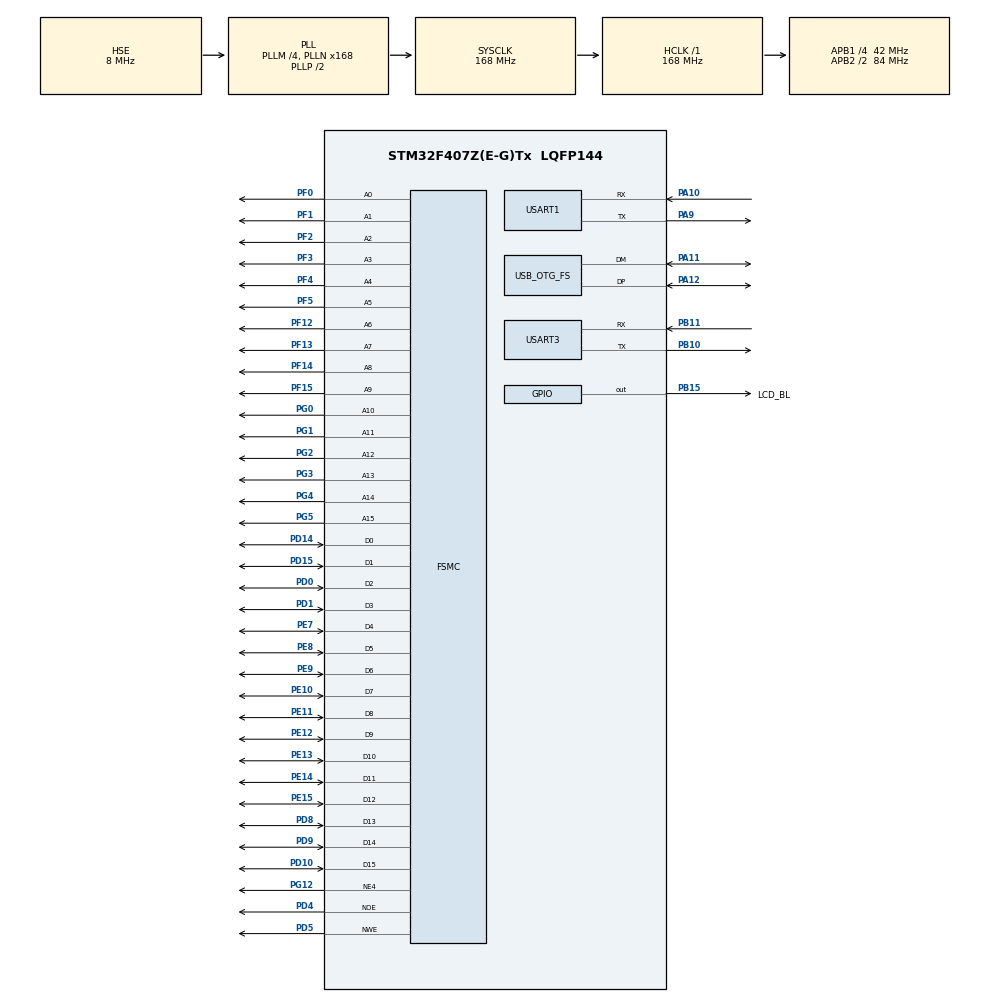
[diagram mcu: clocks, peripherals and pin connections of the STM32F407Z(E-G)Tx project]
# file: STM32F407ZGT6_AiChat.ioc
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FREERTOS.BinarySemaphores01=LlmGenSem,Dynamic,NULL,Available
FREERTOS.Tasks01=LlmTask,0,2048,StartLlmTask,Default,NULL,Dynamic,NULL,NULL;UsbKbTask,1,512,StartUsbKbTask,Default,NULL,Dynamic,NULL,NULL
FREERTOS.configUSE_NEWLIB_REENTRANT=1
FSMC.DataSetupTime1=60
FSMC.ExtendedAddressSetupTime1=3
FSMC.ExtendedBusTurnAroundDuration1=0
FSMC.ExtendedDataSetupTime1=3
FSMC.ExtendedMode1=FSMC_EXTENDED_MODE_ENABLE
FSMC.WriteOperation1=FSMC_WRITE_OPERATION_ENABLE
Mcu.Family=STM32F4
Mcu.Name=STM32F407Z(E-G)Tx
Mcu.Package=LQFP144
NVIC.OTG_FS_IRQn=true\:5\:0\:false\:false\:true\:true\:true\:true\:true
NVIC.PriorityGroup=NVIC_PRIORITYGROUP_4
NVIC.TIM1_UP_TIM10_IRQn=true\:15\:0\:false\:false\:true\:false\:false\:true\:true
NVIC.TimeBase=TIM1_UP_TIM10_IRQn
NVIC.TimeBaseIP=TIM1
NVIC.USART3_IRQn=true\:5\:0\:false\:false\:true\:true\:true\:true\:true
PA10.Mode=Asynchronous
PA10.Signal=USART1_RX
PA11.Mode=Host_Only
PA11.Signal=USB_OTG_FS_DM
PA12.Mode=Host_Only
PA12.Signal=USB_OTG_FS_DP
PA13.Mode=Serial_Wire
PA13.Signal=SYS_JTMS-SWDIO
PA14.Mode=Serial_Wire
PA14.Signal=SYS_JTCK-SWCLK
PA9.Mode=Asynchronous
PA9.Signal=USART1_TX
PB10.Mode=Asynchronous
PB10.Signal=USART3_TX
PB11.Mode=Asynchronous
PB11.Signal=USART3_RX
PB15.GPIO_Label=LCD_BL
PB15.Signal=GPIO_Output
PD0.Signal=FSMC_D2_DA2
PD1.Signal=FSMC_D3_DA3
PD10.Signal=FSMC_D15_DA15
PD14.Signal=FSMC_D0_DA0
PD15.Signal=FSMC_D1_DA1
PD4.Signal=FSMC_NOE
PD5.Signal=FSMC_NWE
PD8.Signal=FSMC_D13_DA13
PD9.Signal=FSMC_D14_DA14
PE10.Signal=FSMC_D7_DA7
PE11.Signal=FSMC_D8_DA8
PE12.Signal=FSMC_D9_DA9
PE13.Signal=FSMC_D10_DA10
PE14.Signal=FSMC_D11_DA11
PE15.Signal=FSMC_D12_DA12
PE7.Signal=FSMC_D4_DA4
PE8.Signal=FSMC_D5_DA5
PE9.Signal=FSMC_D6_DA6
PF0.Signal=FSMC_A0
PF1.Signal=FSMC_A1
PF12.Signal=FSMC_A6
PF13.Signal=FSMC_A7
PF14.Signal=FSMC_A8
PF15.Signal=FSMC_A9
PF2.Signal=FSMC_A2
PF3.Signal=FSMC_A3
PF4.Signal=FSMC_A4
PF5.Signal=FSMC_A5
PG0.Signal=FSMC_A10
PG1.Signal=FSMC_A11
PG12.Mode=NorPsramChipSelect4_1
PG12.Signal=FSMC_NE4
PG2.Signal=FSMC_A12
PG3.Signal=FSMC_A13
PG4.Signal=FSMC_A14
PG5.Signal=FSMC_A15
PH0-OSC_IN.Mode=HSE-External-Oscillator
PH0-OSC_IN.Signal=RCC_OSC_IN
PH1-OSC_OUT.Mode=HSE-External-Oscillator
PH1-OSC_OUT.Signal=RCC_OSC_OUT
ProjectManager.HeapSize=0x200
ProjectManager.StackSize=0x400
ProjectManager.TargetToolchain=STM32CubeIDE
RCC.48MHZClocksFreq_Value=48000000
RCC.AHBFreq_Value=168000000
RCC.APB1CLKDivider=RCC_HCLK_DIV4
RCC.APB1Freq_Value=42000000
RCC.APB1TimFreq_Value=84000000
RCC.APB2CLKDivider=RCC_HCLK_DIV2
RCC.APB2Freq_Value=84000000
RCC.APB2TimFreq_Value=168000000
RCC.CortexFreq_Value=168000000
RCC.HCLKFreq_Value=168000000
RCC.HSE_VALUE=8000000
RCC.HSI_VALUE=16000000
RCC.LSE_VALUE=32768
RCC.PLLM=4
RCC.PLLN=168
RCC.PLLQ=7
RCC.SYSCLKFreq_VALUE=168000000
RCC.SYSCLKSource=RCC_SYSCLKSOURCE_PLLCLK
RCC.VCOOutputFreq_Value=336000000
SH.FSMC_A0.0=FSMC_A0,16b-a1
SH.FSMC_A1.0=FSMC_A1,16b-a1
SH.FSMC_A10.0=FSMC_A10,16b-a1
SH.FSMC_A11.0=FSMC_A11,16b-a1
SH.FSMC_A12.0=FSMC_A12,16b-a1
SH.FSMC_A13.0=FSMC_A13,16b-a1
SH.FSMC_A14.0=FSMC_A14,16b-a1
SH.FSMC_A15.0=FSMC_A15,16b-a1
SH.FSMC_A2.0=FSMC_A2,16b-a1
SH.FSMC_A3.0=FSMC_A3,16b-a1
SH.FSMC_A4.0=FSMC_A4,16b-a1
SH.FSMC_A5.0=FSMC_A5,16b-a1
SH.FSMC_A6.0=FSMC_A6,16b-a1
SH.FSMC_A7.0=FSMC_A7,16b-a1
SH.FSMC_A8.0=FSMC_A8,16b-a1
SH.FSMC_A9.0=FSMC_A9,16b-a1
SH.FSMC_D0_DA0.0=FSMC_D0,16b-d1
SH.FSMC_D10_DA10.0=FSMC_D10,16b-d1
SH.FSMC_D11_DA11.0=FSMC_D11,16b-d1
SH.FSMC_D12_DA12.0=FSMC_D12,16b-d1
SH.FSMC_D13_DA13.0=FSMC_D13,16b-d1
SH.FSMC_D14_DA14.0=FSMC_D14,16b-d1
SH.FSMC_D15_DA15.0=FSMC_D15,16b-d1
SH.FSMC_D1_DA1.0=FSMC_D1,16b-d1
SH.FSMC_D2_DA2.0=FSMC_D2,16b-d1
SH.FSMC_D3_DA3.0=FSMC_D3,16b-d1
SH.FSMC_D4_DA4.0=FSMC_D4,16b-d1
SH.FSMC_D5_DA5.0=FSMC_D5,16b-d1
SH.FSMC_D6_DA6.0=FSMC_D6,16b-d1
SH.FSMC_D7_DA7.0=FSMC_D7,16b-d1
SH.FSMC_D8_DA8.0=FSMC_D8,16b-d1
SH.FSMC_D9_DA9.0=FSMC_D9,16b-d1
SH.FSMC_NOE.0=FSMC_NOE,Sram1
SH.FSMC_NWE.0=FSMC_NWE,Sram1
USART1.VirtualMode=VM_ASYNC
USART3.VirtualMode=VM_ASYNC
USB_HOST.USBH_HandleTypeDef-HID_FS=hUsbHostFS
USB_HOST.VirtualModeFS=Hid
USB_OTG_FS.VirtualMode=Host_Only
USB_OTG_FS.phy_itface=HCD_PHY_EMBEDDED
VP_FREERTOS_VS_CMSIS_V1.Mode=CMSIS_V1
VP_SYS_VS_tim1.Mode=TIM1
VP_USB_HOST_VS_USB_HOST_HID_FS.Mode=HID_FS
board=custom

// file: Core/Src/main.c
/* USER CODE BEGIN Header */
/**
  ******************************************************************************
  * @file           : main.c
  * @brief          : Main program body
  ******************************************************************************
  * @attention
  *
  * Copyright (c) 2026 STMicroelectronics.
  * All rights reserved.
  *
  * This software is licensed under terms that can be found in the LICENSE file
  * in the root directory of this software component.
  * If no LICENSE file comes with this software, it is provided AS-IS.
  *
  ******************************************************************************
  */
/* USER CODE END Header */
#include "main.h"
#include "cmsis_os.h"
#include "usart.h"
#include "usb_host.h"
#include "gpio.h"
#include "fsmc.h"

/* USER CODE BEGIN Includes */
#include <stdio.h>
#include <string.h>
#include "tui.h"
#include "usart.h"
#include "lcd.h"
#include "usb_host.h"
/* USER CODE END Includes */

/* USER CODE BEGIN PV */
#define RX_BUFFER_SIZE 4096
uint8_t rx_data;
char esp8266_rx_buffer[RX_BUFFER_SIZE];
uint16_t rx_index = 0;

#define TCP_RX_BUFFER_SIZE 16384
volatile uint8_t tcp_receiving = 0;
volatile uint8_t tcp_done = 0;
char tcp_rx_buffer[TCP_RX_BUFFER_SIZE];
volatile uint16_t tcp_rx_len = 0;
volatile int http_content_length = -1;
volatile int http_body_received = 0;
volatile uint8_t http_header_complete = 0;
/* USER CODE END PV */

void SystemClock_Config(void);

void MX_FREERTOS_Init(void);

/* USER CODE BEGIN PFP */
uint8_t ESP8266_SendCmd(char *cmd, char *expected_resp, uint32_t timeout);

/* USER CODE END PFP */

/* USER CODE BEGIN 0 */
// Redirect prinft function
int _write(int file, char *ptr, int len) {
    HAL_UART_Transmit(&huart1, (uint8_t *) ptr, len, HAL_MAX_DELAY);
    return len;
}

/* USER CODE END 0 */

int main(void) {

    /* MCU Configuration--------------------------------------------------------*/

    /* Reset of all peripherals, Initializes the Flash interface and the Systick. */
    HAL_Init();

    /* USER CODE BEGIN Init */

    // Clear USART buffer
    setvbuf(stdout, NULL, _IONBF, 0);
    setvbuf(stderr, NULL, _IONBF, 0);

    /* USER CODE END Init */

    /* Configure the system clock */
    SystemClock_Config();

    /* Initialize all configured peripherals */
    MX_GPIO_Init();
    MX_FSMC_Init();
    MX_USART1_UART_Init();
    MX_USART3_UART_Init();
    /* USER CODE BEGIN 2 */

    // Banner
    printf("\n\r===================================\n\r");
    printf("+        Program started          +\n\r");
    printf("===================================\n\r");

    // Initialize LCD

    g_point_color = WHITE;
    g_back_color = BLACK;

    tui_init();

    tui_printf_color(GREEN, "[OK] LCD initialized\n");

    // Initialize ESP8266
    HAL_UART_Receive_IT(&huart3, &rx_data, 1);

    ESP8266_SendCmd("AT\r\n", "OK", 1000);
    ESP8266_SendCmd("AT+CWMODE=1\r\n", "OK", 1000);
    tui_printf_color(YELLOW, "Connecting WiFi " WIFI_SSID "\n");
    if (ESP8266_SendCmd("AT+CWJAP=\"" WIFI_SSID "\",\"" WIFI_PASSWD "\"\r\n", "WIFI GOT IP", 15000)) {
        tui_printf_color(GREEN, "[OK] WiFi Connected!\n");

        ESP8266_SendCmd("AT+CIFSR\r\n", "OK", 2000);
    } else {
        tui_printf_color(RED,   "[FAIL] WiFi Failed!\n");

        // Exception
    }
    /* USER CODE END 2 */

    /* Call init function for freertos objects (in cmsis_os2.c) */
    MX_FREERTOS_Init();

    /* Start scheduler */
    osKernelStart();

    /* We should never get here as control is now taken by the scheduler */

    /* Infinite loop */
    while (1) {

    }
}

void SystemClock_Config(void) {
    RCC_OscInitTypeDef RCC_OscInitStruct = {0};
    RCC_ClkInitTypeDef RCC_ClkInitStruct = {0};

    /** Configure the main internal regulator output voltage
    */
    __HAL_RCC_PWR_CLK_ENABLE();
    __HAL_PWR_VOLTAGESCALING_CONFIG(PWR_REGULATOR_VOLTAGE_SCALE1);

    /** Initializes the RCC Oscillators according to the specified parameters
    * in the RCC_OscInitTypeDef structure.
    */
    RCC_OscInitStruct.OscillatorType = RCC_OSCILLATORTYPE_HSE;
    RCC_OscInitStruct.HSEState = RCC_HSE_ON;
    RCC_OscInitStruct.PLL.PLLState = RCC_PLL_ON;
    RCC_OscInitStruct.PLL.PLLSource = RCC_PLLSOURCE_HSE;
    RCC_OscInitStruct.PLL.PLLM = 4;
    RCC_OscInitStruct.PLL.PLLN = 168;
    RCC_OscInitStruct.PLL.PLLP = RCC_PLLP_DIV2;
    RCC_OscInitStruct.PLL.PLLQ = 7;
    if (HAL_RCC_OscConfig(&RCC_OscInitStruct) != HAL_OK) {
        Error_Handler();
    }

    /** Initializes the CPU, AHB and APB buses clocks
    */
    RCC_ClkInitStruct.ClockType = RCC_CLOCKTYPE_HCLK | RCC_CLOCKTYPE_SYSCLK
                                  | RCC_CLOCKTYPE_PCLK1 | RCC_CLOCKTYPE_PCLK2;
    RCC_ClkInitStruct.SYSCLKSource = RCC_SYSCLKSOURCE_PLLCLK;
    RCC_ClkInitStruct.AHBCLKDivider = RCC_SYSCLK_DIV1;
    RCC_ClkInitStruct.APB1CLKDivider = RCC_HCLK_DIV4;
    RCC_ClkInitStruct.APB2CLKDivider = RCC_HCLK_DIV2;

    if (HAL_RCC_ClockConfig(&RCC_ClkInitStruct, FLASH_LATENCY_5) != HAL_OK) {
        Error_Handler();
    }
}

/* USER CODE BEGIN 4 */
void HAL_UART_RxCpltCallback(UART_HandleTypeDef *huart) {
    if (huart->Instance == USART3) {
        char c = (char) rx_data;

        if (tcp_receiving) {
            if (tcp_rx_len < TCP_RX_BUFFER_SIZE - 1) {
                tcp_rx_buffer[tcp_rx_len++] = c;
                tcp_rx_buffer[tcp_rx_len] = '\0';
            }

            // 1. 只有看到 \r\n\r\n 之后才认为 header 完整
            if (!http_header_complete) {
                char *h_end = strstr(tcp_rx_buffer, "\r\n\r\n");
                if (h_end) {
                    http_header_complete = 1;

                    // header 完整后才允许解析 Content-Length
                    char *cl = strstr(tcp_rx_buffer, "Content-Length:");
                    if (cl) {
                        cl += strlen("Content-Length:");
                        while (*cl == ' ') cl++;
                        http_content_length = atoi(cl);
                    }
                }
            }

            // 2. 只有 header 完整后才判断 body 是否收完
            if (http_header_complete && http_content_length >= 0) {
                char *body = strstr(tcp_rx_buffer, "\r\n\r\n");
                if (body) {
                    body += 4;
                    int current_body_len = (int) tcp_rx_len - (int) (body - tcp_rx_buffer);
                    if (current_body_len >= http_content_length) {
                        tcp_done = 1;
                        tcp_receiving = 0;
                    }
                }
            }

            // 3. 兜底：CLOSED 仍然作为备用结束条件
            if (strstr(tcp_rx_buffer, "CLOSED")) {
                tcp_done = 1;
                tcp_receiving = 0;
            }
        } else {
            esp8266_rx_buffer[rx_index++] = c;
            if (rx_index >= RX_BUFFER_SIZE - 1) {
                rx_index = 0;
            }
        }

        HAL_UART_Receive_IT(&huart3, &rx_data, 1);
    }
}

uint8_t ESP8266_SendCmd(char *cmd, char *expected_resp, uint32_t timeout) {
    // 1. 清空接收缓冲区
    memset(esp8266_rx_buffer, 0, RX_BUFFER_SIZE);
    rx_index = 0;

    // 2. 打印我们正在发送的指令到 USART1 进行调试
    printf(">> Send: %s", cmd);

    // 3. 通过 USART3 发送指令给 ESP8266
    HAL_UART_Transmit(&huart3, (uint8_t *) cmd, strlen(cmd), HAL_MAX_DELAY);

    // 4. 等待响应 (结合 FreeRTOS 的 osDelay 让出 CPU)
    uint32_t start_time = HAL_GetTick();
    while ((HAL_GetTick() - start_time) < timeout) {
        if (strstr(esp8266_rx_buffer, expected_resp) != NULL) {
            printf("<< Response:\r\n%s\r\n", esp8266_rx_buffer);
            return 1;
        }
        if (xTaskGetSchedulerState() == taskSCHEDULER_NOT_STARTED) {
            HAL_Delay(10);
        } else {
            osDelay(10);
        }
    }

    // 打印超时时的缓冲区状态，方便排错
    printf("<< Timeout!: \r\n%s\r\n", esp8266_rx_buffer);
    return 0; // 失败
}

/* USER CODE END 4 */

void HAL_TIM_PeriodElapsedCallback(TIM_HandleTypeDef *htim) {
    if (htim->Instance == TIM1) {
        HAL_IncTick();
    }
}

void Error_Handler(void) {
    __disable_irq();
    while (1) {
    }
}

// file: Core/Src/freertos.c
/* USER CODE BEGIN Header */
/**
  ******************************************************************************
  * File Name          : freertos.c
  * Description        : Code for freertos applications
  ******************************************************************************
  * @attention
  *
  * Copyright (c) 2026 STMicroelectronics.
  * All rights reserved.
  *
  * This software is licensed under terms that can be found in the LICENSE file
  * in the root directory of this software component.
  * If no LICENSE file comes with this software, it is provided AS-IS.
  *
  ******************************************************************************
  */
/* USER CODE END Header */

#include "FreeRTOS.h"
#include "task.h"
#include "queue.h"
#include "main.h"
#include "cmsis_os.h"

/* USER CODE BEGIN Includes */
#include <string.h>
#include <stdio.h>
#include "lcd.h"
#include "tui.h"
#include "usbh_def.h"
#include "usbh_hid.h"
#include "usbh_hid_keybd.h"
/* USER CODE END Includes */

/* USER CODE BEGIN Variables */
extern uint8_t ESP8266_SendCmd(char *cmd, char *expected_resp, uint32_t timeout);

extern char esp8266_rx_buffer[];

extern volatile uint8_t tcp_receiving;
extern volatile uint8_t tcp_done;
extern char tcp_rx_buffer[];
extern volatile uint16_t tcp_rx_len;
extern volatile int http_content_length;
extern volatile int http_body_received;
extern volatile uint8_t http_header_complete;

extern UART_HandleTypeDef huart3;

// #define TEST_INPUT "Can you introduce yourself?"
#define TEST_INPUT "hello"

static QueueHandle_t keybd_queue = NULL;

char user_input_buffer[256];
uint16_t user_input_index = 0;
/* USER CODE END Variables */
osThreadId LlmTaskHandle;
osThreadId UsbKbTaskHandle;
osSemaphoreId LlmGenSemHandle;

void StartLlmTask(void const *argument);

void StartUsbKbTask(void const *argument);

extern void MX_USB_HOST_Init(void);

void MX_FREERTOS_Init(void); /* (MISRA C 2004 rule 8.1) */

/* GetIdleTaskMemory prototype (linked to static allocation support) */
void vApplicationGetIdleTaskMemory(StaticTask_t **ppxIdleTaskTCBBuffer, StackType_t **ppxIdleTaskStackBuffer,
                                   uint32_t *pulIdleTaskStackSize);

/* USER CODE BEGIN GET_IDLE_TASK_MEMORY */
static StaticTask_t xIdleTaskTCBBuffer;
static StackType_t xIdleStack[configMINIMAL_STACK_SIZE];

void vApplicationGetIdleTaskMemory(StaticTask_t **ppxIdleTaskTCBBuffer, StackType_t **ppxIdleTaskStackBuffer,
                                   uint32_t *pulIdleTaskStackSize) {
    *ppxIdleTaskTCBBuffer = &xIdleTaskTCBBuffer;
    *ppxIdleTaskStackBuffer = &xIdleStack[0];
    *pulIdleTaskStackSize = configMINIMAL_STACK_SIZE;
    /* place for user code */
}

/* USER CODE END GET_IDLE_TASK_MEMORY */

void MX_FREERTOS_Init(void) {

    /* Create the semaphores(s) */
    /* definition and creation of LlmGenSem */
    osSemaphoreDef(LlmGenSem);
    LlmGenSemHandle = osSemaphoreCreate(osSemaphore(LlmGenSem), 1);

    /* USER CODE BEGIN RTOS_QUEUES */
    /* 键盘事件队列:容纳 32 个 ASCII 字节,事件回调入队,UsbKbTask 出队 */
    keybd_queue = xQueueCreate(32, sizeof(uint8_t));
    /* USER CODE END RTOS_QUEUES */

    /* Create the thread(s) */
    /* definition and creation of LlmTask */
    osThreadDef(LlmTask, StartLlmTask, osPriorityNormal, 0, 2048);
    LlmTaskHandle = osThreadCreate(osThread(LlmTask), NULL);

    /* definition and creation of UsbKbTask */
    osThreadDef(UsbKbTask, StartUsbKbTask, osPriorityAboveNormal, 0, 512);
    UsbKbTaskHandle = osThreadCreate(osThread(UsbKbTask), NULL);

}

void StartLlmTask(void const *argument) {
    /* init code for USB_HOST */
    MX_USB_HOST_Init();
    /* USER CODE BEGIN StartLlmTask */

    osDelay(3000);
    tui_printf_color(YELLOW, "Initiating LLM API...\n");

    strcpy(user_input_buffer, TEST_INPUT);
    user_input_index = strlen(TEST_INPUT);

    /* Infinite loop */
    for (;;) {
        if (osSemaphoreWait(LlmGenSemHandle, osWaitForever) == osOK) {
            printf("Input: %s\r\n", user_input_buffer);
            tui_printf_color(YELLOW, "Connecting to host: " LLM_HOST "\n");

            if (ESP8266_SendCmd("AT+CIPSTART=\"TCP\",\"" LLM_HOST "\",8080\r\n", "CONNECT", 10000)) {
                tui_printf_color(GREEN, "[OK]TCP connect success\n");

                // url encode
                char encoded_input[512] = {0};
                char *src = user_input_buffer;
                char *dst = encoded_input;
                while (*src) {
                    if (*src == ' ') {
                        *dst++ = '%';
                        *dst++ = '2';
                        *dst++ = '0';
                    } else {
                        *dst++ = *src;
                    }
                    src++;
                }

                // 构造动态 HTTP GET 报文
                char http_req[1024];
                snprintf(http_req, sizeof(http_req),
                         "GET /api/llm/generate?user_input=%s HTTP/1.1\r\n"
                         "Host: " LLM_HOST ":8080\r\n"
                         "Connection: close\r\n\r\n",
                         encoded_input);

                char send_cmd[32];
                sprintf(send_cmd, "AT+CIPSEND=%d\r\n", strlen(http_req));

                // 1. 先发 CIPSEND 并等 > 提示符（仍在 AT 模式）
                if (ESP8266_SendCmd(send_cmd, ">", 20000)) {
                    printf(">> Sending HTTP request...\r\n");

                    // 2. 切换到 TCP 接收模式
                    tcp_rx_len = 0;
                    tcp_rx_buffer[0] = '\0';
                    tcp_done = 0;
                    http_content_length = -1;
                    http_body_received = 0;
                    http_header_complete = 0;
                    tcp_receiving = 1;

                    // 3. 直接用 HAL_UART_Transmit 发 HTTP
                    HAL_UART_Transmit(&huart3, (uint8_t *) http_req, strlen(http_req), HAL_MAX_DELAY);

                    // 4. 等待 TCP 真正结束（CLOSED）
                    uint32_t start = HAL_GetTick();
                    while (!tcp_done) {
                        if (HAL_GetTick() - start > 15000) break;
                        osDelay(10);
                    }

                    if (tcp_done) {
                        printf("<< Response Received! Parsing...\r\n");

                        char *http_start = strstr(tcp_rx_buffer, "HTTP/1.");
                        if (http_start != NULL) {
                            char *body = strstr(http_start, "\r\n\r\n");
                            if (body != NULL) {
                                body += 4; // 跳过 \r\n\r\n

                                // 清理：原位抹掉 body 中残留的 +IPD,N: 前缀和 CLOSED
                                char *out = body;
                                char *p = body;
                                while (*p) {
                                    if (strncmp(p, "+IPD,", 5) == 0) {
                                        while (*p && *p != ':') p++;
                                        if (*p == ':') p++;
                                        continue;
                                    }
                                    if (strncmp(p, "CLOSED", 6) == 0) break;
                                    *out++ = *p++;
                                }
                                *out = '\0';

                                printf("AI reply:\n", body);
                                tui_printf_color(GREEN, "AI reply:\n");

                                // 【改进 3】LCD 友好型安全字符流打印，防止连续大量空格导致屏幕跑飞
                                char *read_ptr = body;
                                int continuous_space = 0;
                                while (*read_ptr) {
                                    // 压缩连续的多余空格，防止坐标溢出
                                    if (*read_ptr == ' ' || *read_ptr == '\t') {
                                        continuous_space++;
                                        if (continuous_space > 1) {
                                            read_ptr++;
                                            continue;
                                        }
                                    } else {
                                        continuous_space = 0;
                                    }

                                    // 过滤掉 \r 符号，统一只用 \n 换行
                                    if (*read_ptr == '\r') {
                                        read_ptr++;
                                        continue;
                                    }

                                    // 逐个字符安全输出到 LCD
                                    char t_buf[2] = {*read_ptr, '\0'};
                                    tui_printf("%s", t_buf);
                                    read_ptr++;
                                }

                                tui_printf("[Done]\n");
                            } else {
                                printf("<< Error: body delimiter not found after HTTP header\r\n");
                            }
                        } else {
                            printf("<< Error: 'HTTP/1.' protocol header not found\r\n");
                        }
                    } else {
                        printf("<< TCP receive timeout\r\n");
                        tui_printf_color(RED, "API Timeout!\n");
                    }
                }
            } else {
                printf("<< TCP connect failed\r\n");
                tui_printf_color(RED, "[Failed]API Connect Failed!\n");
            }

            // =====================================
            // 4. 请求结束，重置缓冲区，准备迎接真实的物理键盘输入
            user_input_index = 0;
            memset(user_input_buffer, 0, sizeof(user_input_buffer));

            printf("\r\n==========================================\r\n");
            printf(">> Talk to AI (type on USB Keyboard and press Enter):\r\n");
            printf("==========================================\r\n");
        }

        osDelay(10000);
    }
    /* USER CODE END StartLlmTask */
}

void StartUsbKbTask(void const *argument) {
    /* USER CODE BEGIN StartUsbKbTask */

    uint8_t ascii = 0;

    printf("USB Keyboard Task Started, waiting for device...\r\n");

    // Infinite loop:阻塞等待 USBH_HID_EventCallback 推入的按键事件
    for (;;) {
        if (keybd_queue == NULL) {
            osDelay(50);
            continue;
        }

        /* 永久阻塞,直到回调推入一个 ASCII。CPU 让给 LlmTask / USB Host 任务。*/
        if (xQueueReceive(keybd_queue, &ascii, portMAX_DELAY) != pdTRUE) {
            continue;
        }

        // A. 处理退格键 (Backspace / Delete)
        if (ascii == '\b' || ascii == 0x7F) {
            if (user_input_index > 0) {
                user_input_index--;
                user_input_buffer[user_input_index] = '\0';

                // 实时 LCD 擦除回显：由于 tui.c 是流式覆盖打印，
                // 最佳的做法是清屏，重新打印固定标头和用户当前已输入的整行缓冲区
                tui_clear();
                tui_printf_color(WHITE, "LLM Chat Box\n");
                tui_printf("Input: %s", user_input_buffer);

                // 串口同步打印退格效果
                printf("\b \b");
            }
        }
        // B. 处理回车键 (Enter)，触发大模型生成任务
        else if (ascii == '\r' || ascii == '\n') {
            if (user_input_index > 0) { // 确保用户输入了内容

                // 在 LCD 和串口输出提示
                tui_printf("\n[Sending...]\n");
                printf("\r\n>> Prompt Committed. Releasing Semaphore...\r\n");

                // 释放信号量，唤醒 StartLlmTask
                osSemaphoreRelease(LlmGenSemHandle);
            }
        }
        // C. 处理普通可见字符（空格到波浪号）
        else if (ascii >= 32 && ascii <= 126) {
            if (user_input_index < sizeof(user_input_buffer) - 1) {

                // 存入 user_input_buffer
                user_input_buffer[user_input_index++] = (char)ascii;
                user_input_buffer[user_input_index] = '\0';

                // 1. 实时显示在 LCD 屏幕上
                // 你的 tui_putc 已经自带了撞墙换行和纵向换行清屏机制，非常安全
                tui_printf("%c", ascii);

                // 2. 串口回显，方便电脑调试
                printf("%c", ascii);
            }
        }
    }
    /* USER CODE END StartUsbKbTask */
}

/* USB Host 库的弱回调:每次 HID 收到新数据(中断端点回报)时,USB Host 任务
 * 会用真正的 phost(= &hUsbHostFS)调到这里。我们在此读出 ASCII,只做最小工作
 * (压入队列),把耗时的 LCD/串口 IO 留给 UsbKbTask。
 *
 * 这是 keyboard.c 原本占用的回调位置 —— 它已被删除,所以这里没有重复定义冲突。*/
void USBH_HID_EventCallback(USBH_HandleTypeDef *phost)
{
    if (USBH_HID_GetDeviceType(phost) != HID_KEYBOARD) {
        return;
    }

    HID_KEYBD_Info_TypeDef *info = USBH_HID_GetKeybdInfo(phost);
    if (info == NULL) {
        return;
    }

    uint8_t ascii = USBH_HID_GetASCIICode(info);
    if (ascii == 0) {
        return;
    }

    if (keybd_queue != NULL) {
        (void)xQueueSend(keybd_queue, &ascii, 0);
    }
}
